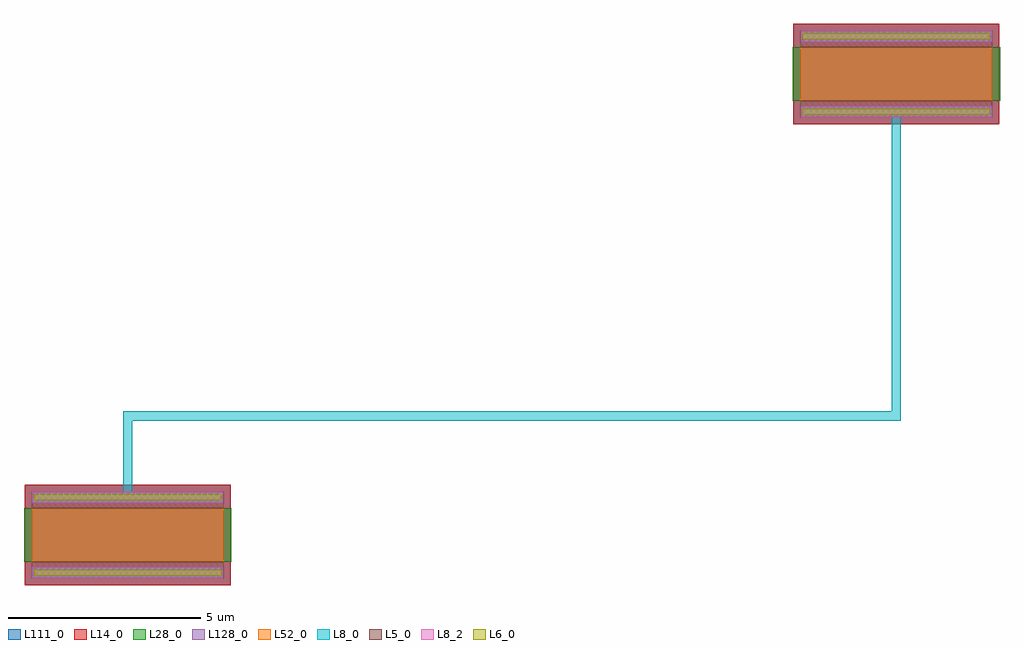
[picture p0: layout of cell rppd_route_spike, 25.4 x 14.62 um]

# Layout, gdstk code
from math import pi, radians
import gdstk
lib = gdstk.Library(unit=1e-6, precision=1e-09)
def R(c, l, rs):  # rectangles x0, y0, x1, y1
    for r in rs: c.add(gdstk.rectangle(r[:2], r[2:], *l))
L5_0 = (5, 0)
L6_0 = (6, 0)
L8_0 = (8, 0)
L8_2 = (8, 2)
L14_0 = (14, 0)
L28_0 = (28, 0)
L52_0 = (52, 0)
L111_0 = (111, 0)
L128_0 = (128, 0)

rppd_spike = lib.new_cell('rppd_spike')
R(rppd_spike, L5_0, [(0,-0.43,5,-0.2), (0,-0.2,5,0), (0,1.4,5,1.6), (0,1.6,5,1.83)])
R(rppd_spike, L6_0, [(0.07,-0.36,4.93,-0.2), (0.07,1.6,4.93,1.76)])
R(rppd_spike, L8_0, [(0.02,-0.43,4.98,-0.13), (0.02,1.53,4.98,1.83)])
R(rppd_spike, L8_2, [(0.02,-0.43,4.98,-0.13), (0.02,1.53,4.98,1.83)])
R(rppd_spike, L14_0, [(-0.18,-0.61,5.18,0), (-0.18,0,5.18,1.4), (-0.18,1.4,5.18,2.01)])
R(rppd_spike, L28_0, [(-0.2,0,5.2,1.4)])
R(rppd_spike, L52_0, [(0,0,5,1.4)])
R(rppd_spike, L111_0, [(-0.18,-0.61,5.18,0), (-0.2,0,5.2,1.4), (-0.18,1.4,5.18,2.01)])
R(rppd_spike, L128_0, [(0,0,5,1.4)])
rppd_spike.add(gdstk.Label('rppd r=86.713', (2.5,0.7), layer=63, texttype=0))
rppd_spike.add(gdstk.Label('rppd', (2.5,0.7), layer=52, texttype=0))

wire_corner_gdsfactorypc = lib.new_cell('wire_corner_gdsfactorypcomponentspwaveguidespwire_CSxs__5323be7d')
R(wire_corner_gdsfactorypc, L8_0, [(-0.12,-0.12,0.12,0.12)])

straight_gdsfactorypcomp = lib.new_cell('straight_gdsfactorypcomponentspwaveguidespstraight_L2_N_d3bcdf45')
R(straight_gdsfactorypcomp, L8_0, [(0,-0.12,2,0.12)])

c_straight_gdsfactorypcomp = lib.new_cell('straight_gdsfactorypcomponentspwaveguidespstraight_L19p_eecc6a20')
R(c_straight_gdsfactorypcomp, L8_0, [(0,-0.12,19.76,0.12)])

c_straight_gdsfactorypcomp_ = lib.new_cell('straight_gdsfactorypcomponentspwaveguidespstraight_L7p8_e14bfeda')
R(c_straight_gdsfactorypcomp_, L8_0, [(0,-0.12,7.8,0.12)])

rppd_route_spike = lib.new_cell('rppd_route_spike')
rppd_route_spike.add(gdstk.Reference(rppd_spike, (0,0)))
rppd_route_spike.add(gdstk.Reference(rppd_spike, (20,12)))
rppd_route_spike.add(gdstk.Reference(wire_corner_gdsfactorypc, (2.5,3.8), rotation=pi))
rppd_route_spike.add(gdstk.Reference(straight_gdsfactorypcomp, (2.5,1.68), rotation=pi/2))
rppd_route_spike.add(gdstk.Reference(wire_corner_gdsfactorypc, (22.5,3.8), rotation=3*pi/2, x_reflection=True))
rppd_route_spike.add(gdstk.Reference(c_straight_gdsfactorypcomp, (2.62,3.8)))
rppd_route_spike.add(gdstk.Reference(c_straight_gdsfactorypcomp_, (22.5,3.92), rotation=pi/2))

lib.write_gds('rppd_route_spike.gds')
